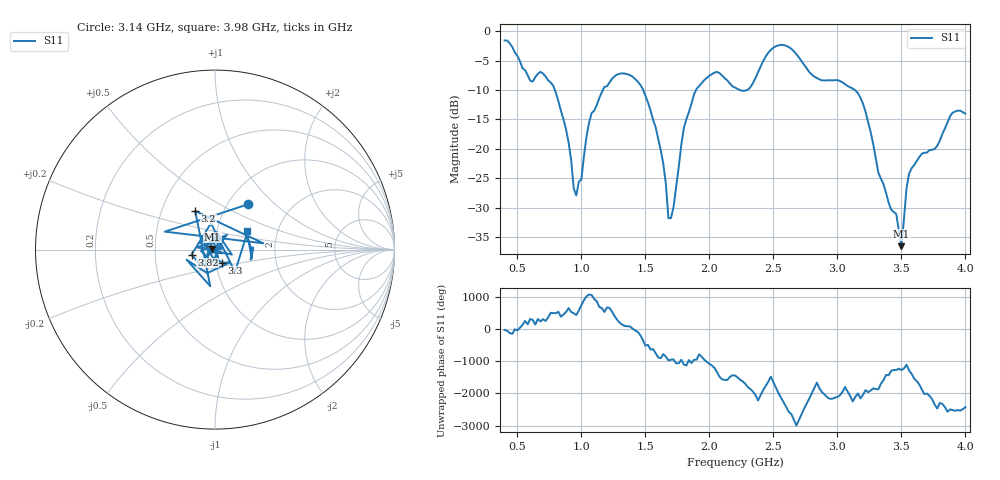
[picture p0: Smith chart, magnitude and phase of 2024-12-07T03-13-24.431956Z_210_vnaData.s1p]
!Created with skrf (http://scikit-rf.org).
# Hz S RI R 50.0
!freq ReS11 ImS11
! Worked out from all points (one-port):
!   181 points, 400 MHz to 4 GHz, reference 50 ohm
!   lowest |S11| = -36.5 dB at 3.5 GHz (marker M1), VSWR 1.03, Z = 48.6 + j0.349 ohm
!   |S11| at or under -10 dB: 792.4 MHz to 1.168 GHz (375.7 MHz wide, 38.3 % of centre); 1.483 GHz to 1.896 GHz (412.8 MHz wide, 24.4 % of centre); 3.136 GHz to end of sweep (the widest 3 of 4)
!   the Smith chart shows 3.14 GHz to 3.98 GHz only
!   S11 on the Smith chart (normalised r, x): 3.14 GHz: 1.24, +0.70; 3.2 GHz: 0.74, +0.34; 3.3 GHz: 1.07, -0.16; 3.82 GHz: 0.77, -0.04; 3.98 GHz: 1.39, +0.30
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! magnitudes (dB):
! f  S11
! 400 MHz  -1.6
! 600 MHz  -8.4
! 780 MHz  -9.3
! 860 MHz  -15.0
! 960 MHz  -27.9
! 1.08 GHz  -13.9
! 1.3 GHz  -7.2
! 1.52 GHz  -12.1
! 1.64 GHz  -22.6
! 1.68 GHz  -31.8
! 1.76 GHz  -23.2
! 1.8 GHz  -16.5
! 1.9 GHz  -9.8
! 2.06 GHz  -6.9
! 2.2 GHz  -9.6
! 2.32 GHz  -9.5
! 2.5 GHz  -2.8
! 2.66 GHz  -3.4
! 3.1 GHz  -9.6
! 3.14 GHz  -10.1
! 3.2 GHz  -12.3
! 3.3 GHz  -21.7
! 3.46 GHz  -31.1
! 3.5 GHz  -36.5
! 3.56 GHz  -24.2
! 3.82 GHz  -17.5
! 3.98 GHz  -13.8
! 4 GHz  -14.0
